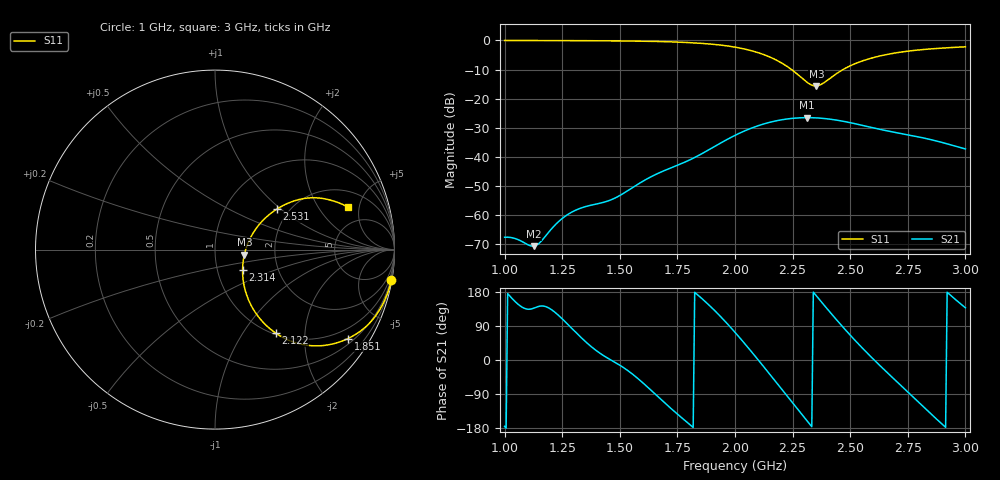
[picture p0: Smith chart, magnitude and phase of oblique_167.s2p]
! TOUCHSTONE file generated by CST MICROWAVE STUDIO
! Date and time: Tue Mar 18 00:02:32 2025
! Project name: oblique.cst
! Parameters = {Tilt=40; Fracture=1; B=12.5; D=160; F=5; Feed=2.85625; L=100; M=30; R=0.384908; S=1; Theta=180; length=57.125; wave=114.25}
! Header version: 2024
! Port assignment regex: !\s*Touchstone port\s*([0-9]+)\s*=\s*(CST MWS port|CST DES external port|CST DES block port)\s*(.+)\s* \(\"(.*)\"\)(\s*mode\s*([0-9]+))?.*
! Touchstone port assignment:
! Touchstone port 1 = CST MWS port 1 ("")
! Touchstone port 2 = CST MWS port 2 ("")
# GHz S DB R 50
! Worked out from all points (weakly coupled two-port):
!   304 points, 1 GHz to 3 GHz, reference 50 ohm
!   highest |S21| = -26.49 dB at 2.314 GHz (marker M1); lowest = -70.6 dB at 1.125 GHz (marker M2)
!   lowest |S11| = -15.6 dB at 2.353 GHz (marker M3), VSWR 1.40, Z = 69.4 - j3.94 ohm
!   |S11| at or under -10 dB: 2.245 GHz to 2.469 GHz (223.7 MHz wide, 9.49 % of centre)
!   S12 and S22 are empty: the file has one direction only
!   S11 on the Smith chart (normalised r, x): 1 GHz: 0, -12; 1.851 GHz: 0.66, -3.17; 2.122 GHz: 1.02, -1.42; 2.314 GHz: 1.32, -0.31; 2.531 GHz: 1.73, +0.95; 3 GHz: 3.20, +3.82
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1  -0.02 -9.9  -67.53 -175.1  -200.00 0.0  -200.00 0.0
1.0462  -0.03 -10.5  -67.97 153.8  -200.00 0.0  -200.00 0.0
1.12541  -0.04 -11.6  -70.58 136.4  -200.00 0.0  -200.00 0.0
1.15182  -0.04 -12.0  -69.45 142.0  -200.00 0.0  -200.00 0.0
1.21122  -0.05 -13.0  -63.97 129.4  -200.00 0.0  -200.00 0.0
1.25083  -0.07 -13.7  -61.03 108.2  -200.00 0.0  -200.00 0.0
1.33663  -0.10 -15.4  -57.36 56.6  -200.00 0.0  -200.00 0.0
1.47525  -0.16 -18.5  -54.22 -4.9  -200.00 0.0  -200.00 0.0
1.66667  -0.38 -24.7  -45.58 -97.3  -200.00 0.0  -200.00 0.0
1.85149  -1.00 -33.8  -39.06 164.7  -200.00 0.0  -200.00 0.0
2.0033  -2.35 -44.6  -32.44 70.8  -200.00 0.0  -200.00 0.0
2.12211  -4.80 -54.0  -28.72 -15.8  -200.00 0.0  -200.00 0.0
2.21452  -8.33 -57.2  -27.08 -86.0  -200.00 0.0  -200.00 0.0
2.31353  -14.41 -36.2  -26.49 -161.2  -200.00 0.0  -200.00 0.0
2.33993  -15.51 -19.2  -26.53 179.1  -200.00 0.0  -200.00 0.0
2.35314  -15.60 -9.6  -26.58 169.3  -200.00 0.0  -200.00 0.0
2.37954  -14.84 7.9  -26.73 149.9  -200.00 0.0  -200.00 0.0
2.43894  -11.49 28.1  -27.32 107.3  -200.00 0.0  -200.00 0.0
2.53135  -7.66 33.2  -28.76 45.1  -200.00 0.0  -200.00 0.0
2.66997  -4.67 29.4  -31.18 -38.6  -200.00 0.0  -200.00 0.0
2.81518  -3.15 23.4  -33.41 -122.0  -200.00 0.0  -200.00 0.0
3  -2.19 17.8  -37.23 137.7  -200.00 0.0  -200.00 0.0
